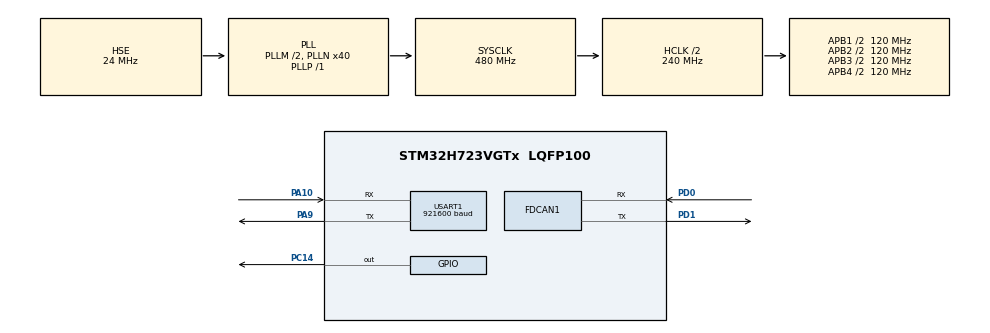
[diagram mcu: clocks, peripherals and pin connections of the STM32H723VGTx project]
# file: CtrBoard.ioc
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CORTEX_M7.CPU_DCache=Disabled
CORTEX_M7.CPU_ICache=Disabled
Dma.Request0=USART1_RX
Dma.Request1=USART1_TX
Dma.USART1_RX.0.Direction=DMA_PERIPH_TO_MEMORY
Dma.USART1_RX.0.EventEnable=DISABLE
Dma.USART1_RX.0.FIFOMode=DMA_FIFOMODE_DISABLE
Dma.USART1_RX.0.Instance=DMA1_Stream0
Dma.USART1_RX.0.MemDataAlignment=DMA_MDATAALIGN_BYTE
Dma.USART1_RX.0.MemInc=DMA_MINC_ENABLE
Dma.USART1_RX.0.Mode=DMA_CIRCULAR
Dma.USART1_RX.0.PeriphDataAlignment=DMA_PDATAALIGN_BYTE
Dma.USART1_RX.0.PeriphInc=DMA_PINC_DISABLE
Dma.USART1_RX.0.Polarity=HAL_DMAMUX_REQ_GEN_RISING
Dma.USART1_RX.0.Priority=DMA_PRIORITY_VERY_HIGH
Dma.USART1_RX.0.RequestNumber=1
Dma.USART1_RX.0.SignalID=NONE
Dma.USART1_RX.0.SyncEnable=DISABLE
Dma.USART1_RX.0.SyncPolarity=HAL_DMAMUX_SYNC_NO_EVENT
Dma.USART1_RX.0.SyncRequestNumber=1
Dma.USART1_RX.0.SyncSignalID=NONE
Dma.USART1_TX.1.Direction=DMA_MEMORY_TO_PERIPH
Dma.USART1_TX.1.EventEnable=DISABLE
Dma.USART1_TX.1.FIFOMode=DMA_FIFOMODE_DISABLE
Dma.USART1_TX.1.Instance=DMA1_Stream1
Dma.USART1_TX.1.MemDataAlignment=DMA_MDATAALIGN_BYTE
Dma.USART1_TX.1.MemInc=DMA_MINC_ENABLE
Dma.USART1_TX.1.Mode=DMA_NORMAL
Dma.USART1_TX.1.PeriphDataAlignment=DMA_PDATAALIGN_BYTE
Dma.USART1_TX.1.PeriphInc=DMA_PINC_DISABLE
Dma.USART1_TX.1.Polarity=HAL_DMAMUX_REQ_GEN_RISING
Dma.USART1_TX.1.Priority=DMA_PRIORITY_VERY_HIGH
Dma.USART1_TX.1.RequestNumber=1
Dma.USART1_TX.1.SignalID=NONE
Dma.USART1_TX.1.SyncEnable=DISABLE
Dma.USART1_TX.1.SyncPolarity=HAL_DMAMUX_SYNC_NO_EVENT
Dma.USART1_TX.1.SyncRequestNumber=1
Dma.USART1_TX.1.SyncSignalID=NONE
FDCAN1.AutoRetransmission=ENABLE
FDCAN1.CalculateBaudRateNominal=1000000
FDCAN1.CalculateTimeBitNominal=1000
FDCAN1.CalculateTimeQuantumNominal=12.5
FDCAN1.DataPrescaler=1
FDCAN1.DataSyncJumpWidth=2
FDCAN1.DataTimeSeg1=13
FDCAN1.DataTimeSeg2=2
FDCAN1.ExtFiltersNbr=4
FDCAN1.FrameFormat=FDCAN_FRAME_FD_BRS
FDCAN1.NominalPrescaler=1
FDCAN1.NominalSyncJumpWidth=20
FDCAN1.NominalTimeSeg1=59
FDCAN1.NominalTimeSeg2=20
FDCAN1.ProtocolException=ENABLE
FDCAN1.RxBufferSize=FDCAN_DATA_BYTES_8
FDCAN1.RxBuffersNbr=2
FDCAN1.RxFifo0ElmtSize=FDCAN_DATA_BYTES_8
FDCAN1.RxFifo0ElmtsNbr=10
FDCAN1.RxFifo1ElmtSize=FDCAN_DATA_BYTES_8
FDCAN1.RxFifo1ElmtsNbr=10
FDCAN1.StdFiltersNbr=4
FDCAN1.TxBuffersNbr=10
FDCAN1.TxElmtSize=FDCAN_DATA_BYTES_8
FDCAN1.TxEventsNbr=10
FDCAN1.TxFifoQueueElmtsNbr=10
FREERTOS.Tasks01=defaultTask,24,3000,StartDefaultTask,Default,NULL,Static,defaultTaskBuffer,defaultTaskControlBlock;myTask02,8,5000,StartTask02,Default,NULL,Static,myTask02Buffer,myTask02ControlBlock
FREERTOS.configENABLE_FPU=1
Mcu.Family=STM32H7
Mcu.Name=STM32H723VGTx
Mcu.Package=LQFP100
NVIC.DMA1_Stream0_IRQn=true\:5\:0\:false\:false\:true\:true\:false\:true\:true
NVIC.DMA1_Stream1_IRQn=true\:5\:0\:false\:false\:true\:true\:false\:true\:true
NVIC.FDCAN1_IT0_IRQn=true\:5\:0\:false\:false\:true\:true\:true\:true\:true
NVIC.FDCAN1_IT1_IRQn=true\:5\:0\:false\:false\:true\:true\:true\:true\:true
NVIC.FDCAN_CAL_IRQn=true\:5\:0\:false\:false\:true\:true\:true\:true\:true
NVIC.PriorityGroup=NVIC_PRIORITYGROUP_4
NVIC.TIM23_IRQn=true\:15\:0\:false\:false\:true\:false\:false\:true\:true
NVIC.TIM3_IRQn=true\:5\:0\:false\:false\:true\:true\:true\:true\:true
NVIC.TIM4_IRQn=true\:5\:0\:false\:false\:true\:true\:true\:true\:true
NVIC.TimeBase=TIM23_IRQn
NVIC.TimeBaseIP=TIM23
NVIC.USART1_IRQn=true\:5\:0\:false\:false\:true\:true\:true\:true\:true
PA10.Mode=Asynchronous
PA10.Signal=USART1_RX
PA13(JTMS/SWDIO).Mode=Serial_Wire
PA13(JTMS/SWDIO).Signal=DEBUG_JTMS-SWDIO
PA14(JTCK/SWCLK).Mode=Serial_Wire
PA14(JTCK/SWCLK).Signal=DEBUG_JTCK-SWCLK
PA9.Mode=Asynchronous
PA9.Signal=USART1_TX
PC14-OSC32_IN.Signal=GPIO_Output
PD0.Mode=FDCAN_Activate
PD0.Signal=FDCAN1_RX
PD1.Mode=FDCAN_Activate
PD1.Signal=FDCAN1_TX
PH0-OSC_IN.Mode=HSE-External-Oscillator
PH0-OSC_IN.Signal=RCC_OSC_IN
PH1-OSC_OUT.Mode=HSE-External-Oscillator
PH1-OSC_OUT.Signal=RCC_OSC_OUT
ProjectManager.HeapSize=0x2000
ProjectManager.StackSize=0x400
ProjectManager.TargetToolchain=STM32CubeIDE
RCC.ADCFreq_Value=48375000
RCC.APB1Freq_Value=120000000
RCC.APB2Freq_Value=120000000
RCC.APB3Freq_Value=120000000
RCC.APB4Freq_Value=120000000
RCC.CortexFreq_Value=480000000
RCC.D1PPRE=RCC_APB3_DIV2
RCC.D2PPRE1=RCC_APB1_DIV2
RCC.D2PPRE2=RCC_APB2_DIV2
RCC.D3PPRE=RCC_APB4_DIV2
RCC.DIVM1=2
RCC.DIVN1=40
RCC.DIVP1=1
RCC.DIVQ1=6
RCC.HCLKFreq_Value=240000000
RCC.HPRE=RCC_HCLK_DIV2
RCC.HSE_VALUE=24000000
RCC.PLLFRACN=0
RCC.PLLSourceVirtual=RCC_PLLSOURCE_HSE
RCC.RCC_MCO1Source=RCC_MCO1SOURCE_HSE
RCC.SYSCLKFreq_VALUE=480000000
RCC.SYSCLKSource=RCC_SYSCLKSOURCE_PLLCLK
RCC.USBCLockSelection=RCC_USBCLKSOURCE_HSI48
RCC.USBFreq_Value=48000000
TIM3.Period=1000-1
TIM3.Prescaler=240-1
TIM4.Period=1000-1
TIM4.Prescaler=240-1
USART1.BaudRate=921600
USART1.VirtualMode-Asynchronous=VM_ASYNC
VP_FREERTOS_VS_CMSIS_V2.Mode=CMSIS_V2
VP_MEMORYMAP_VS_MEMORYMAP.Mode=CurAppReg
VP_SYS_VS_tim23.Mode=TIM23
VP_TIM3_VS_ClockSourceINT.Mode=Internal
VP_TIM4_VS_ClockSourceINT.Mode=Internal
board=custom

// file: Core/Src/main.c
/* USER CODE BEGIN Header */
/**
  ******************************************************************************
  * @file		   : main.c
  * @brief		  : Main program body
  ******************************************************************************
  * @attention
  *
  * Copyright (c) 2025 STMicroelectronics.
  * All rights reserved.
  *
  * This software is licensed under terms that can be found in the LICENSE file
  * in the root directory of this software component.
  * If no LICENSE file comes with this software, it is provided AS-IS.
  *
  ******************************************************************************
  */
/* USER CODE END Header */
#include "main.h"
#include "cmsis_os.h"
#include "dma.h"
#include "fdcan.h"
#include "memorymap.h"
#include "tim.h"
#include "usart.h"
#include "gpio.h"

/* USER CODE BEGIN Includes */
#include "stdio.h"
#include "stdlib.h"
/* USER CODE END Includes */

/* USER CODE BEGIN PM */
#include "bsp_fdcan.h"
#include "dm_motor_ctrl.h"
#include <stdio.h>
#include <string.h>
volatile float g_target_motor_speed;
volatile float target_rpm;
/* USER CODE END PM */

void SystemClock_Config(void);
void MX_FREERTOS_Init(void);

int main(void)
{

  /* MCU Configuration--------------------------------------------------------*/

  /* Reset of all peripherals, Initializes the Flash interface and the Systick. */
  HAL_Init();

  /* Configure the system clock */
  SystemClock_Config();

  /* Initialize all configured peripherals */
  MX_GPIO_Init();
  MX_DMA_Init();
  MX_FDCAN1_Init();
  MX_TIM3_Init();
  MX_USART1_UART_Init();
  MX_TIM4_Init();
  /* USER CODE BEGIN 2 */

  // const char *ready_message = "Motor Control System Ready. Target RPM can be updated via UART.\r\n";
  // uint8_t initial_uart_rx_byte[1];
  // if (HAL_UART_Receive_IT(&huart1, initial_uart_rx_byte, 1) != HAL_OK)
  // {
	// Error_Handler();
  // }

  // HAL_UART_Transmit(&huart1, (uint8_t*)ready_message, strlen(ready_message), HAL_MAX_DELAY);

  /* USER CODE END 2 */

  /* Init scheduler */
  osKernelInitialize();

  /* Call init function for freertos objects (in cmsis_os2.c) */
  MX_FREERTOS_Init();

  /* Start scheduler */
  osKernelStart();

  /* We should never get here as control is now taken by the scheduler */

  /* Infinite loop */
  while (1)
  {

  }
}

void SystemClock_Config(void)
{
  RCC_OscInitTypeDef RCC_OscInitStruct = {0};
  RCC_ClkInitTypeDef RCC_ClkInitStruct = {0};

  /** Supply configuration update enable
  */
  HAL_PWREx_ConfigSupply(PWR_LDO_SUPPLY);

  /** Configure the main internal regulator output voltage
  */
  __HAL_PWR_VOLTAGESCALING_CONFIG(PWR_REGULATOR_VOLTAGE_SCALE0);

  while(!__HAL_PWR_GET_FLAG(PWR_FLAG_VOSRDY)) {}

  /** Initializes the RCC Oscillators according to the specified parameters
  * in the RCC_OscInitTypeDef structure.
  */
  RCC_OscInitStruct.OscillatorType = RCC_OSCILLATORTYPE_HSE;
  RCC_OscInitStruct.HSEState = RCC_HSE_ON;
  RCC_OscInitStruct.PLL.PLLState = RCC_PLL_ON;
  RCC_OscInitStruct.PLL.PLLSource = RCC_PLLSOURCE_HSE;
  RCC_OscInitStruct.PLL.PLLM = 2;
  RCC_OscInitStruct.PLL.PLLN = 40;
  RCC_OscInitStruct.PLL.PLLP = 1;
  RCC_OscInitStruct.PLL.PLLQ = 6;
  RCC_OscInitStruct.PLL.PLLR = 2;
  RCC_OscInitStruct.PLL.PLLRGE = RCC_PLL1VCIRANGE_3;
  RCC_OscInitStruct.PLL.PLLVCOSEL = RCC_PLL1VCOWIDE;
  RCC_OscInitStruct.PLL.PLLFRACN = 0;
  if (HAL_RCC_OscConfig(&RCC_OscInitStruct) != HAL_OK)
  {
    Error_Handler();
  }

  /** Initializes the CPU, AHB and APB buses clocks
  */
  RCC_ClkInitStruct.ClockType = RCC_CLOCKTYPE_HCLK|RCC_CLOCKTYPE_SYSCLK
                              |RCC_CLOCKTYPE_PCLK1|RCC_CLOCKTYPE_PCLK2
                              |RCC_CLOCKTYPE_D3PCLK1|RCC_CLOCKTYPE_D1PCLK1;
  RCC_ClkInitStruct.SYSCLKSource = RCC_SYSCLKSOURCE_PLLCLK;
  RCC_ClkInitStruct.SYSCLKDivider = RCC_SYSCLK_DIV1;
  RCC_ClkInitStruct.AHBCLKDivider = RCC_HCLK_DIV2;
  RCC_ClkInitStruct.APB3CLKDivider = RCC_APB3_DIV2;
  RCC_ClkInitStruct.APB1CLKDivider = RCC_APB1_DIV2;
  RCC_ClkInitStruct.APB2CLKDivider = RCC_APB2_DIV2;
  RCC_ClkInitStruct.APB4CLKDivider = RCC_APB4_DIV2;

  if (HAL_RCC_ClockConfig(&RCC_ClkInitStruct, FLASH_LATENCY_3) != HAL_OK)
  {
    Error_Handler();
  }
}

void HAL_TIM_PeriodElapsedCallback(TIM_HandleTypeDef *htim)
{
  if (htim->Instance == TIM23)
  {
    HAL_IncTick();
  }
  /* USER CODE BEGIN Callback 1 */
  if (htim->Instance == TIM3) {

		read_all_motor_data(&motor[Motor1]);

		if(motor[Motor1].tmp.read_flag == 0)
			dm_motor_ctrl_send(&hfdcan1, &motor[Motor1]);

        g_target_motor_speed = RPM_TO_RADS(target_rpm);
        motor[Motor1].ctrl.vel_set = g_target_motor_speed;

        dm_motor_ctrl_send(&hfdcan1, &motor[Motor1]);
  }
  /* USER CODE END Callback 1 */
}

void Error_Handler(void)
{
  __disable_irq();
  while (1)
  {
  }
}

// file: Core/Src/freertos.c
/* USER CODE BEGIN Header */
/**
  ******************************************************************************
  * File Name          : freertos.c
  * Description        : Code for freertos applications
  ******************************************************************************
  * @attention
  *
  * Copyright (c) 2025 STMicroelectronics.
  * All rights reserved.
  *
  * This software is licensed under terms that can be found in the LICENSE file
  * in the root directory of this software component.
  * If no LICENSE file comes with this software, it is provided AS-IS.
  *
  ******************************************************************************
  */
/* USER CODE END Header */

#include "FreeRTOS.h"
#include "task.h"
#include "main.h"
#include "cmsis_os.h"

/* USER CODE BEGIN Includes */

#include "dma.h"
#include "fdcan.h"
#include "tim.h"
#include "usart.h"
#include "gpio.h"

#include "bsp_fdcan.h"
#include "dm_motor_ctrl.h"
#include <stdio.h>
#include <string.h>

/* USER CODE END Includes */

typedef StaticTask_t osStaticThreadDef_t;

/* Definitions for defaultTask */
osThreadId_t defaultTaskHandle;
uint32_t defaultTaskBuffer[ 3000 ];
osStaticThreadDef_t defaultTaskControlBlock;
const osThreadAttr_t defaultTask_attributes = {
  .name = "defaultTask",
  .cb_mem = &defaultTaskControlBlock,
  .cb_size = sizeof(defaultTaskControlBlock),
  .stack_mem = &defaultTaskBuffer[0],
  .stack_size = sizeof(defaultTaskBuffer),
  .priority = (osPriority_t) osPriorityNormal,
};
/* Definitions for myTask02 */
osThreadId_t myTask02Handle;
uint32_t myTask02Buffer[ 5000 ];
osStaticThreadDef_t myTask02ControlBlock;
const osThreadAttr_t myTask02_attributes = {
  .name = "myTask02",
  .cb_mem = &myTask02ControlBlock,
  .cb_size = sizeof(myTask02ControlBlock),
  .stack_mem = &myTask02Buffer[0],
  .stack_size = sizeof(myTask02Buffer),
  .priority = (osPriority_t) osPriorityLow,
};

void StartDefaultTask(void *argument);
void StartTask02(void *argument);

void MX_FREERTOS_Init(void); /* (MISRA C 2004 rule 8.1) */

void MX_FREERTOS_Init(void) {

  /* Create the thread(s) */
  /* creation of defaultTask */
  defaultTaskHandle = osThreadNew(StartDefaultTask, NULL, &defaultTask_attributes);

  /* creation of myTask02 */
  myTask02Handle = osThreadNew(StartTask02, NULL, &myTask02_attributes);

}

void StartDefaultTask(void *argument)
{
  /* USER CODE BEGIN StartDefaultTask */

    power(GPIO_PIN_SET);
    HAL_Delay(1000);
    bsp_fdcan_set_baud(&hfdcan1, CAN_CLASS, CAN_BR_1M);

    bsp_can_init();

    dm_motor_init();
	motor[Motor1].ctrl.mode 	= spd_mode;
	HAL_Delay(100);

	write_motor_data(motor[Motor1].id, 10, spd_mode, 0, 0, 0);
	HAL_Delay(100);
//	write_motor_data(motor[Motor1].id, 35, CAN_BR_5M, 0, 0, 0);
//	HAL_Delay(100);
	read_motor_data(motor[Motor1].id, RID_CAN_BR);
	dm_motor_disable(&hfdcan1, &motor[Motor1]);
	HAL_Delay(100);
	save_motor_data(motor[Motor1].id, 10);
	HAL_Delay(100);
	dm_motor_enable(&hfdcan1, &motor[Motor1]);
	HAL_Delay(1000);
	HAL_TIM_Base_Start_IT(&htim3);

  /* Infinite loop */
  for(;;)
  {
    osDelay(1);
  }
  /* USER CODE END StartDefaultTask */
}

void StartTask02(void *argument)
{
  for(;;)
  {
    osDelay(1);
  }
}
